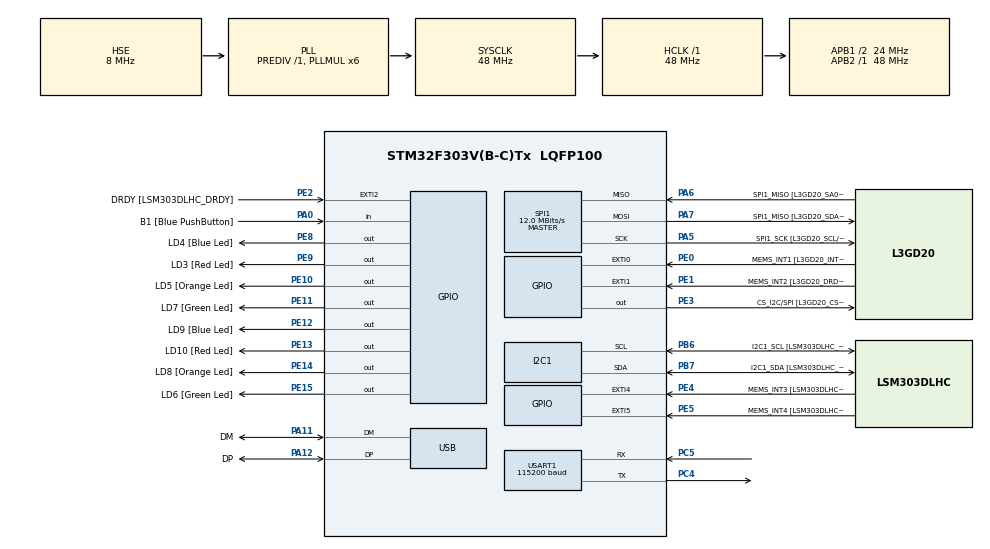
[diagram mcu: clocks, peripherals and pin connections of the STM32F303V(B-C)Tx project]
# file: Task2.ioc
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I2C1.Timing=0x00201D2B
I2C1.Timing-I2C=0x2000090E
Mcu.Family=STM32F3
Mcu.Name=STM32F303V(B-C)Tx
Mcu.Package=LQFP100
NVIC.PriorityGroup=NVIC_PRIORITYGROUP_0
NVIC.SPI1_IRQn=true\:0\:0\:false\:false\:true\:true\:true\:true
NVIC.USB_LP_CAN_RX0_IRQn=true\:0\:0\:false\:false\:true\:false\:true\:true
PA0.GPIO_Label=B1 [Blue PushButton]
PA0.Signal=GPIO_Input
PA11.GPIO_Label=DM
PA11.Mode=Device
PA11.Signal=USB_DM
PA12.GPIO_Label=DP
PA12.Mode=Device
PA12.Signal=USB_DP
PA13.GPIO_Label=SWDIO
PA13.Mode=Serial_Wire
PA13.Signal=SYS_JTMS-SWDIO
PA14.GPIO_Label=SWCLK
PA14.Mode=Serial_Wire
PA14.Signal=SYS_JTCK-SWCLK
PA5.GPIO_Label=SPI1_SCK [L3GD20_SCL/SPC]
PA5.Mode=Full_Duplex_Master
PA5.Signal=SPI1_SCK
PA6.GPIO_Label=SPI1_MISO [L3GD20_SA0/SDO]
PA6.Mode=Full_Duplex_Master
PA6.Signal=SPI1_MISO
PA7.GPIO_Label=SPI1_MISO [L3GD20_SDA/SDI/SDO]
PA7.Mode=Full_Duplex_Master
PA7.Signal=SPI1_MOSI
PB3.GPIO_Label=SWO
PB3.Signal=SYS_JTDO-TRACESWO
PB6.GPIO_Label=I2C1_SCL [LSM303DLHC_SCL]
PB6.GPIO_Pu=GPIO_PULLUP
PB6.Mode=I2C
PB6.Signal=I2C1_SCL
PB7.GPIO_Label=I2C1_SDA [LSM303DLHC_SDA]
PB7.GPIO_Pu=GPIO_PULLUP
PB7.Mode=I2C
PB7.Signal=I2C1_SDA
PC14-OSC32_IN.GPIO_Label=OSC32_IN
PC14-OSC32_IN.Signal=RCC_OSC32_IN
PC15-OSC32_OUT.GPIO_Label=OSC32_OUT
PC15-OSC32_OUT.Signal=RCC_OSC32_OUT
PC4.Mode=Asynchronous
PC4.Signal=USART1_TX
PC5.Mode=Asynchronous
PC5.Signal=USART1_RX
PE0.GPIO_Label=MEMS_INT1 [L3GD20_INT1]
PE0.GPIO_ModeDefaultEXTI=GPIO_MODE_EVT_RISING
PE0.Signal=GPXTI0
PE1.GPIO_Label=MEMS_INT2 [L3GD20_DRDY/INT2]
PE1.GPIO_ModeDefaultEXTI=GPIO_MODE_EVT_RISING
PE1.Signal=GPXTI1
PE10.GPIO_Label=LD5 [Orange Led]
PE10.Signal=GPIO_Output
PE11.GPIO_Label=LD7 [Green Led]
PE11.Signal=GPIO_Output
PE12.GPIO_Label=LD9 [Blue Led]
PE12.Signal=GPIO_Output
PE13.GPIO_Label=LD10 [Red Led]
PE13.Signal=GPIO_Output
PE14.GPIO_Label=LD8 [Orange Led]
PE14.Signal=GPIO_Output
PE15.GPIO_Label=LD6 [Green Led]
PE15.Signal=GPIO_Output
PE2.GPIO_Label=DRDY [LSM303DLHC_DRDY]
PE2.GPIO_ModeDefaultEXTI=GPIO_MODE_EVT_RISING
PE2.Signal=GPXTI2
PE3.GPIO_Label=CS_I2C/SPI [L3GD20_CS_I2C/SPI]
PE3.Signal=GPIO_Output
PE4.GPIO_Label=MEMS_INT3 [LSM303DLHC_INT1]
PE4.GPIO_ModeDefaultEXTI=GPIO_MODE_EVT_RISING
PE4.Signal=GPXTI4
PE5.GPIO_Label=MEMS_INT4 [LSM303DLHC_INT2]
PE5.GPIO_ModeDefaultEXTI=GPIO_MODE_EVT_RISING
PE5.Signal=GPXTI5
PE8.GPIO_Label=LD4 [Blue Led]
PE8.Signal=GPIO_Output
PE9.GPIO_Label=LD3 [Red Led]
PE9.Signal=GPIO_Output
PF0-OSC_IN.GPIO_Label=OSC_IN
PF0-OSC_IN.Mode=HSE-External-Clock-Source
PF0-OSC_IN.Signal=RCC_OSC_IN
PF1-OSC_OUT.GPIO_Label=OSC_OUT
PF1-OSC_OUT.Signal=RCC_OSC_OUT
ProjectManager.HeapSize=0x200
ProjectManager.StackSize=0x400
ProjectManager.TargetToolchain=CMake
RCC.AHBFreq_Value=48000000
RCC.APB1CLKDivider=RCC_HCLK_DIV2
RCC.APB1Freq_Value=24000000
RCC.APB1TimFreq_Value=48000000
RCC.APB2Freq_Value=48000000
RCC.APB2TimFreq_Value=48000000
RCC.CortexFreq_Value=48000000
RCC.HCLKFreq_Value=48000000
RCC.HSE_VALUE=8000000
RCC.HSI_VALUE=8000000
RCC.LSE_VALUE=32768
RCC.PLLMUL=RCC_PLL_MUL6
RCC.SYSCLKFreq_VALUE=48000000
RCC.SYSCLKSourceVirtual=RCC_SYSCLKSOURCE_PLLCLK
RCC.USBFreq_Value=48000000
SPI1.BaudRatePrescaler=SPI_BAUDRATEPRESCALER_4
SPI1.BaudRatePrescaler-Full_Duplex_Master=SPI_BAUDRATEPRESCALER_2
SPI1.CLKPhase=SPI_PHASE_2EDGE
SPI1.CLKPolarity=SPI_POLARITY_HIGH
SPI1.CalculateBaudRate=12.0 MBits/s
SPI1.CalculateBaudRate-Full_Duplex_Master=24.0 MBits/s
SPI1.DataSize=SPI_DATASIZE_8BIT
SPI1.Direction=SPI_DIRECTION_2LINES
SPI1.Mode=SPI_MODE_MASTER
SPI1.Mode-Full_Duplex_Master=SPI_MODE_MASTER
SPI1.VirtualType=VM_MASTER
USART1.BaudRate=115200
USART1.VirtualMode-Asynchronous=VM_ASYNC
USB_DEVICE.CLASS_NAME_FS=CDC
USB_DEVICE.VirtualMode=Cdc
USB_DEVICE.VirtualModeFS=Cdc_FS
VP_USB_DEVICE_VS_USB_DEVICE_CDC_FS.Mode=CDC_FS
board=STM32F3DISCOVERY

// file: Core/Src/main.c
/* USER CODE BEGIN Header */
/**
  ******************************************************************************
  * @file           : main.c
  * @brief          : Main program body
  ******************************************************************************
  * @attention
  *
  * Copyright (c) 2026 STMicroelectronics.
  * All rights reserved.
  *
  * This software is licensed under terms that can be found in the LICENSE file
  * in the root directory of this software component.
  * If no LICENSE file comes with this software, it is provided AS-IS.
  *
  ******************************************************************************
  */
/* USER CODE END Header */
#include "main.h"
#include "usb_device.h"

/* USER CODE BEGIN Includes */
#include <string.h>
/* USER CODE END Includes */

I2C_HandleTypeDef hi2c1;

SPI_HandleTypeDef hspi1;

UART_HandleTypeDef huart1;

void SystemClock_Config(void);
static void MX_GPIO_Init(void);
static void MX_I2C1_Init(void);
static void MX_SPI1_Init(void);
static void MX_USART1_UART_Init(void);

/* USER CODE BEGIN 0 */
uint8_t tx_temp;
uint8_t rx_temp;
int8_t temp;

void gyro_init() {
  uint8_t data[2];
  data[0] = 0x20;
  data[1] = 0x0F;
  HAL_GPIO_WritePin(GPIOE, GPIO_PIN_3, GPIO_PIN_RESET);
  HAL_SPI_Transmit(&hspi1, data, 2, HAL_MAX_DELAY);
  HAL_GPIO_WritePin(GPIOE, GPIO_PIN_3, GPIO_PIN_SET);
}
/* USER CODE END 0 */

int main(void)
{

  /* MCU Configuration--------------------------------------------------------*/

  /* Reset of all peripherals, Initializes the Flash interface and the Systick. */
  HAL_Init();

  /* Configure the system clock */
  SystemClock_Config();

  /* Initialize all configured peripherals */
  MX_GPIO_Init();
  MX_I2C1_Init();
  MX_SPI1_Init();
  MX_USART1_UART_Init();
  MX_USB_DEVICE_Init();
  /* USER CODE BEGIN 2 */
  gyro_init();
  /* USER CODE END 2 */

  /* Infinite loop */
  while (1)
  {

    /* USER CODE BEGIN 3 */
    tx_temp = 0x26 | 0x80;
    HAL_GPIO_WritePin(GPIOE, GPIO_PIN_3, GPIO_PIN_RESET);
    HAL_SPI_Transmit_IT(&hspi1, &tx_temp, 1);
    HAL_Delay(100);
  }
  /* USER CODE END 3 */
}

void SystemClock_Config(void)
{
  RCC_OscInitTypeDef RCC_OscInitStruct = {0};
  RCC_ClkInitTypeDef RCC_ClkInitStruct = {0};
  RCC_PeriphCLKInitTypeDef PeriphClkInit = {0};

  /** Initializes the RCC Oscillators according to the specified parameters
  * in the RCC_OscInitTypeDef structure.
  */
  RCC_OscInitStruct.OscillatorType = RCC_OSCILLATORTYPE_HSI|RCC_OSCILLATORTYPE_HSE;
  RCC_OscInitStruct.HSEState = RCC_HSE_BYPASS;
  RCC_OscInitStruct.HSEPredivValue = RCC_HSE_PREDIV_DIV1;
  RCC_OscInitStruct.HSIState = RCC_HSI_ON;
  RCC_OscInitStruct.HSICalibrationValue = RCC_HSICALIBRATION_DEFAULT;
  RCC_OscInitStruct.PLL.PLLState = RCC_PLL_ON;
  RCC_OscInitStruct.PLL.PLLSource = RCC_PLLSOURCE_HSE;
  RCC_OscInitStruct.PLL.PLLMUL = RCC_PLL_MUL6;
  if (HAL_RCC_OscConfig(&RCC_OscInitStruct) != HAL_OK)
  {
    Error_Handler();
  }

  /** Initializes the CPU, AHB and APB buses clocks
  */
  RCC_ClkInitStruct.ClockType = RCC_CLOCKTYPE_HCLK|RCC_CLOCKTYPE_SYSCLK
                              |RCC_CLOCKTYPE_PCLK1|RCC_CLOCKTYPE_PCLK2;
  RCC_ClkInitStruct.SYSCLKSource = RCC_SYSCLKSOURCE_PLLCLK;
  RCC_ClkInitStruct.AHBCLKDivider = RCC_SYSCLK_DIV1;
  RCC_ClkInitStruct.APB1CLKDivider = RCC_HCLK_DIV2;
  RCC_ClkInitStruct.APB2CLKDivider = RCC_HCLK_DIV1;

  if (HAL_RCC_ClockConfig(&RCC_ClkInitStruct, FLASH_LATENCY_1) != HAL_OK)
  {
    Error_Handler();
  }
  PeriphClkInit.PeriphClockSelection = RCC_PERIPHCLK_USB|RCC_PERIPHCLK_USART1
                              |RCC_PERIPHCLK_I2C1;
  PeriphClkInit.Usart1ClockSelection = RCC_USART1CLKSOURCE_PCLK2;
  PeriphClkInit.I2c1ClockSelection = RCC_I2C1CLKSOURCE_HSI;
  PeriphClkInit.USBClockSelection = RCC_USBCLKSOURCE_PLL;
  if (HAL_RCCEx_PeriphCLKConfig(&PeriphClkInit) != HAL_OK)
  {
    Error_Handler();
  }
}

static void MX_I2C1_Init(void)
{

  hi2c1.Instance = I2C1;
  hi2c1.Init.Timing = 0x00201D2B;
  hi2c1.Init.OwnAddress1 = 0;
  hi2c1.Init.AddressingMode = I2C_ADDRESSINGMODE_7BIT;
  hi2c1.Init.DualAddressMode = I2C_DUALADDRESS_DISABLE;
  hi2c1.Init.OwnAddress2 = 0;
  hi2c1.Init.OwnAddress2Masks = I2C_OA2_NOMASK;
  hi2c1.Init.GeneralCallMode = I2C_GENERALCALL_DISABLE;
  hi2c1.Init.NoStretchMode = I2C_NOSTRETCH_DISABLE;
  if (HAL_I2C_Init(&hi2c1) != HAL_OK)
  {
    Error_Handler();
  }

  /** Configure Analogue filter
  */
  if (HAL_I2CEx_ConfigAnalogFilter(&hi2c1, I2C_ANALOGFILTER_ENABLE) != HAL_OK)
  {
    Error_Handler();
  }

  /** Configure Digital filter
  */
  if (HAL_I2CEx_ConfigDigitalFilter(&hi2c1, 0) != HAL_OK)
  {
    Error_Handler();
  }

}

static void MX_SPI1_Init(void)
{

  /* SPI1 parameter configuration*/
  hspi1.Instance = SPI1;
  hspi1.Init.Mode = SPI_MODE_MASTER;
  hspi1.Init.Direction = SPI_DIRECTION_2LINES;
  hspi1.Init.DataSize = SPI_DATASIZE_8BIT;
  hspi1.Init.CLKPolarity = SPI_POLARITY_HIGH;
  hspi1.Init.CLKPhase = SPI_PHASE_2EDGE;
  hspi1.Init.NSS = SPI_NSS_SOFT;
  hspi1.Init.BaudRatePrescaler = SPI_BAUDRATEPRESCALER_4;
  hspi1.Init.FirstBit = SPI_FIRSTBIT_MSB;
  hspi1.Init.TIMode = SPI_TIMODE_DISABLE;
  hspi1.Init.CRCCalculation = SPI_CRCCALCULATION_DISABLE;
  hspi1.Init.CRCPolynomial = 7;
  hspi1.Init.CRCLength = SPI_CRC_LENGTH_DATASIZE;
  hspi1.Init.NSSPMode = SPI_NSS_PULSE_DISABLE;
  if (HAL_SPI_Init(&hspi1) != HAL_OK)
  {
    Error_Handler();
  }

}

static void MX_USART1_UART_Init(void)
{

  huart1.Instance = USART1;
  huart1.Init.BaudRate = 115200;
  huart1.Init.WordLength = UART_WORDLENGTH_8B;
  huart1.Init.StopBits = UART_STOPBITS_1;
  huart1.Init.Parity = UART_PARITY_NONE;
  huart1.Init.Mode = UART_MODE_TX_RX;
  huart1.Init.HwFlowCtl = UART_HWCONTROL_NONE;
  huart1.Init.OverSampling = UART_OVERSAMPLING_16;
  huart1.Init.OneBitSampling = UART_ONE_BIT_SAMPLE_DISABLE;
  huart1.AdvancedInit.AdvFeatureInit = UART_ADVFEATURE_NO_INIT;
  if (HAL_UART_Init(&huart1) != HAL_OK)
  {
    Error_Handler();
  }

}

static void MX_GPIO_Init(void)
{
  GPIO_InitTypeDef GPIO_InitStruct = {0};

  /* GPIO Ports Clock Enable */
  __HAL_RCC_GPIOE_CLK_ENABLE();
  __HAL_RCC_GPIOC_CLK_ENABLE();
  __HAL_RCC_GPIOF_CLK_ENABLE();
  __HAL_RCC_GPIOA_CLK_ENABLE();
  __HAL_RCC_GPIOB_CLK_ENABLE();

  /*Configure GPIO pin Output Level */
  HAL_GPIO_WritePin(GPIOE, CS_I2C_SPI_Pin|LD4_Pin|LD3_Pin|LD5_Pin
                          |LD7_Pin|LD9_Pin|LD10_Pin|LD8_Pin
                          |LD6_Pin, GPIO_PIN_RESET);

  /*Configure GPIO pins : DRDY_Pin MEMS_INT3_Pin MEMS_INT4_Pin MEMS_INT1_Pin
                           MEMS_INT2_Pin */
  GPIO_InitStruct.Pin = DRDY_Pin|MEMS_INT3_Pin|MEMS_INT4_Pin|MEMS_INT1_Pin
                          |MEMS_INT2_Pin;
  GPIO_InitStruct.Mode = GPIO_MODE_EVT_RISING;
  GPIO_InitStruct.Pull = GPIO_NOPULL;
  HAL_GPIO_Init(GPIOE, &GPIO_InitStruct);

  /*Configure GPIO pins : CS_I2C_SPI_Pin LD4_Pin LD3_Pin LD5_Pin
                           LD7_Pin LD9_Pin LD10_Pin LD8_Pin
                           LD6_Pin */
  GPIO_InitStruct.Pin = CS_I2C_SPI_Pin|LD4_Pin|LD3_Pin|LD5_Pin
                          |LD7_Pin|LD9_Pin|LD10_Pin|LD8_Pin
                          |LD6_Pin;
  GPIO_InitStruct.Mode = GPIO_MODE_OUTPUT_PP;
  GPIO_InitStruct.Pull = GPIO_NOPULL;
  GPIO_InitStruct.Speed = GPIO_SPEED_FREQ_LOW;
  HAL_GPIO_Init(GPIOE, &GPIO_InitStruct);

  /*Configure GPIO pin : B1_Pin */
  GPIO_InitStruct.Pin = B1_Pin;
  GPIO_InitStruct.Mode = GPIO_MODE_INPUT;
  GPIO_InitStruct.Pull = GPIO_NOPULL;
  HAL_GPIO_Init(B1_GPIO_Port, &GPIO_InitStruct);

}

/* USER CODE BEGIN 4 */
void HAL_SPI_TxCpltCallback(SPI_HandleTypeDef *hspi) {
  if (hspi->Instance == SPI1) {
    HAL_SPI_Receive_IT(&hspi1, &rx_temp, 1);
  }
}

void HAL_SPI_RxCpltCallback(SPI_HandleTypeDef *hspi) {
  if (hspi->Instance == SPI1) {
    HAL_GPIO_WritePin(GPIOE, GPIO_PIN_3, GPIO_PIN_SET);

    temp = (int8_t)rx_temp;

    char msg[20];
    snprintf(msg, sizeof(msg), "%d\r\n", temp);
    HAL_UART_Transmit(&huart1, (uint8_t*)msg, strlen(msg), HAL_MAX_DELAY);
  }
}
/* USER CODE END 4 */

void Error_Handler(void)
{
  __disable_irq();
  while (1)
  {
  }
}
